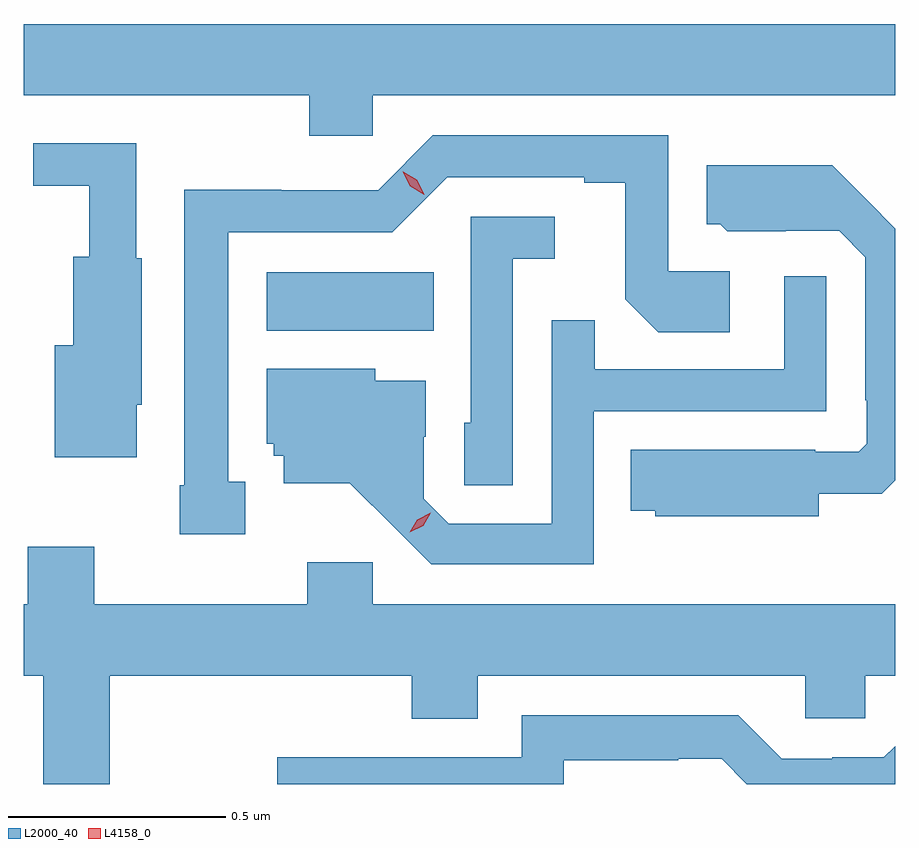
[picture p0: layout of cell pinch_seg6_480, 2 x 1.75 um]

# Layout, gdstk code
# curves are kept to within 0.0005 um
import gdstk
lib = gdstk.Library(unit=1e-6, precision=1e-09)
def R(c, l, rs):  # rectangles x0, y0, x1, y1
    for r in rs: c.add(gdstk.rectangle(r[:2], r[2:], *l))
def P(c, l, *ps):  # polygons
    for p in ps: c.add(gdstk.Polygon(p, *l))
L2000_40 = (2000, 40)
L4158_0 = (4158, 0)

pinch_seg6_480 = lib.new_cell('pinch_seg6_480')
R(pinch_seg6_480, L2000_40, [(759.638,922.82,760.022,922.954)])
P(pinch_seg6_480, L2000_40, [(759.882,923.36),(761.081,923.36),(761.081,923.524),(759.081,923.524),(759.081,923.36),(759.736,923.36),(759.736,923.267),(759.882,923.267)],
  [(759.589,922.473),(759.55,922.473),(759.55,923.046),(759.927,923.046),(760.053,923.172),(760.367,923.172),(760.367,923.16),(760.461,923.16),(760.461,922.892),(760.537,922.816),(760.702,922.816),(760.702,922.956),(760.56,922.956),(760.56,923.268),(760.02,923.268),(759.894,923.142),(759.672,923.142),(759.672,923.144),(759.449,923.144),(759.449,922.465),(759.439,922.465),(759.439,922.353),(759.589,922.353)],
  [(759.34,922.65),(759.352,922.65),(759.352,922.986),(759.339,922.986),(759.339,923.25),(759.102,923.25),(759.102,923.153),(759.231,923.153),(759.231,922.99),(759.194,922.99),(759.194,922.786),(759.152,922.786),(759.152,922.529),(759.34,922.529)],
  [(760.906,922.445),(761.05,922.445),(761.081,922.476),(761.081,923.054),(760.937,923.2),(760.649,923.2),(760.649,923.064),(760.68,923.064),(760.696,923.048),(760.83,923.048),(760.83,923.049),(760.953,923.049),(761.013,922.989),(761.013,922.66),(761.016,922.66),(761.016,922.56),(760.998,922.542),(760.898,922.542),(760.898,922.546),(760.474,922.546),(760.474,922.406),(760.53,922.406),(760.53,922.394),(760.906,922.394)],
  [(760.203,922.985),(760.3,922.985),(760.3,923.082),(760.107,923.082),(760.107,922.608),(760.092,922.608),(760.092,922.465),(760.203,922.465)],
  [(760.389,922.635),(760.923,922.635),(760.923,922.945),(760.827,922.945),(760.827,922.731),(760.391,922.731),(760.391,922.844),(760.293,922.844),(760.293,922.377),(760.056,922.377),(759.999,922.434),(759.999,922.576),(760.003,922.576),(760.003,922.705),(759.888,922.705),(759.888,922.732),(759.638,922.732),(759.638,922.56),(759.654,922.56),(759.654,922.533),(759.677,922.533),(759.677,922.469),(759.829,922.469),(760.016,922.284),(760.389,922.284)],
  [(759.278,922.028),(759.971,922.028),(759.971,921.929),(760.123,921.929),(760.123,922.028),(760.875,922.028),(760.875,921.93),(761.013,921.93),(761.013,922.028),(761.081,922.028),(761.081,922.192),(759.882,922.192),(759.882,922.288),(759.731,922.288),(759.731,922.192),(759.242,922.192),(759.242,922.324),(759.09,922.324),(759.09,922.192),(759.081,922.192),(759.081,922.028),(759.125,922.028),(759.125,921.779),(759.278,921.779)],
  [(760.32,921.833),(760.583,921.833),(760.583,921.837),(760.683,921.837),(760.741,921.779),(761.081,921.779),(761.081,921.866),(761.055,921.84),(760.937,921.84),(760.937,921.837),(760.821,921.837),(760.721,921.937),(760.224,921.937),(760.224,921.84),(759.663,921.84),(759.663,921.779),(760.32,921.779)])
P(pinch_seg6_480, L4158_0, [(759.967,922.357),(759.967,922.357),(759.984,922.386),(760.015,922.402),(760.015,922.402),(760.015,922.402),(759.998,922.372),(759.967,922.357)],
  [(760,923.132),(759.968,923.152),(759.951,923.185),(759.951,923.185),(759.952,923.185),(759.983,923.166),(760,923.133),(760,923.132)])

lib.write_gds('pinch_seg6_480.gds')
